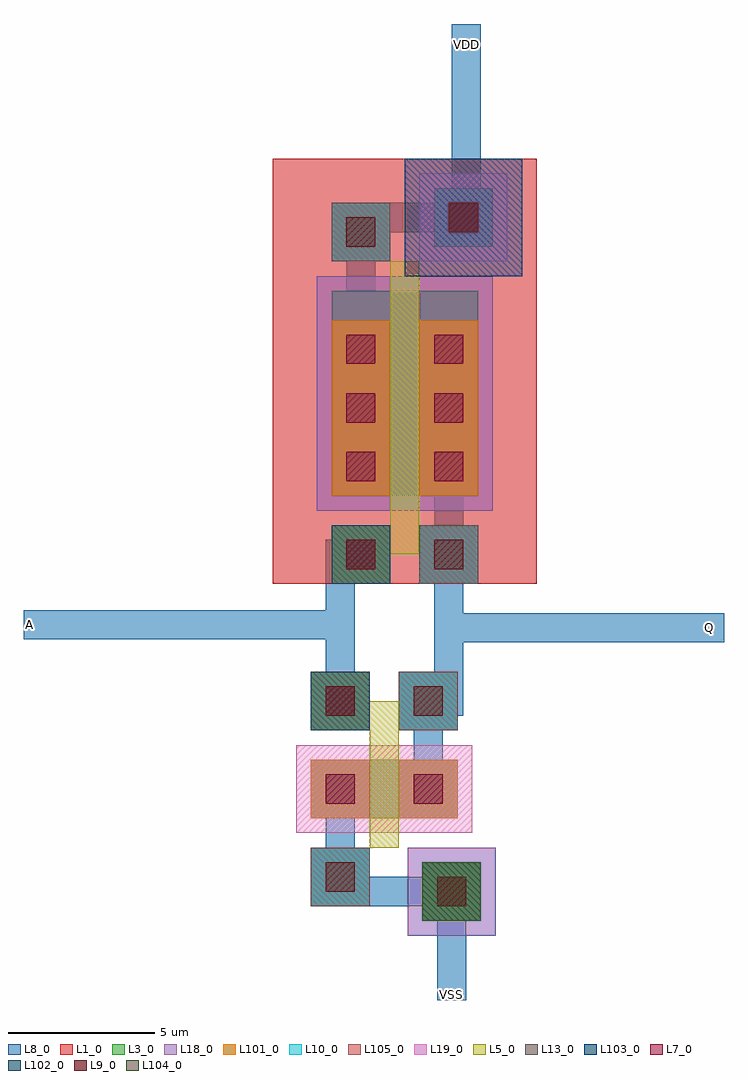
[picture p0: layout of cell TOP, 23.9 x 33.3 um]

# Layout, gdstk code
import gdstk
lib = gdstk.Library(unit=1e-6, precision=1e-07)
def R(c, l, rs):  # rectangles x0, y0, x1, y1
    for r in rs: c.add(gdstk.rectangle(r[:2], r[2:], *l))
L1_0 = (1, 0)
L3_0 = (3, 0)
L5_0 = (5, 0)
L7_0 = (7, 0)
L8_0 = (8, 0)
L9_0 = (9, 0)
L10_0 = (10, 0)
L13_0 = (13, 0)
L18_0 = (18, 0)
L19_0 = (19, 0)
L101_0 = (101, 0)
L102_0 = (102, 0)
L103_0 = (103, 0)
L104_0 = (104, 0)
L105_0 = (105, 0)

dcont = lib.new_cell('dcont')
R(dcont, L3_0, [(-1,-1,1,1)])
R(dcont, L7_0, [(-0.5,-0.5,0.5,0.5)])
R(dcont, L8_0, [(-1,-1,1,1)])
R(dcont, L13_0, [(-0.5,-0.5,0.5,0.5)])
R(dcont, L101_0, [(-1,-1,1,1)])

pcont = lib.new_cell('pcont')
R(pcont, L5_0, [(-1,-1,1,1)])
R(pcont, L7_0, [(-0.5,-0.5,0.5,0.5)])
R(pcont, L8_0, [(-1,-1,1,1)])
R(pcont, L13_0, [(-0.5,-0.5,0.5,0.5)])
R(pcont, L102_0, [(-1,-1,1,1)])

via = lib.new_cell('Via')
R(via, L8_0, [(-1,-1,1,1)])
R(via, L9_0, [(-0.5,-0.5,0.5,0.5)])
R(via, L10_0, [(-1,-1,1,1)])
R(via, L13_0, [(-0.5,-0.5,0.5,0.5)])
R(via, L105_0, [(-1,-1,1,1)])

dcont1 = lib.new_cell('dcont1')
R(dcont1, L3_0, [(-1,-1,1,1)])
R(dcont1, L7_0, [(-0.5,-0.5,0.5,0.5)])
R(dcont1, L8_0, [(-1,-1,1,1)])
R(dcont1, L13_0, [(-0.5,-0.5,0.5,0.5)])
R(dcont1, L101_0, [(-1,-1,1,1)])

psubcont = lib.new_cell('psubcont')
R(psubcont, L18_0, [(-1.5,-1.5,1.5,1.5)])
R(psubcont, L104_0, [(-1,-1,1,1)])
psubcont.add(gdstk.Reference(dcont1, (0,0)))

nch = lib.new_cell('Nch')
R(nch, L3_0, [(0,3,5,5)])
R(nch, L19_0, [(-0.5,2.5,5.5,5.5)])
nch.add(gdstk.FlexPath([(2.5,3),(2.5,5)], 1, ends=(1, 1), simple_path=True, layer=5, datatype=0))  # L5_0
nch.add(gdstk.FlexPath([(1,6.5),(2.5,6.5),(2.5,6)], 1, ends="flush", simple_path=True, layer=5, datatype=0))  # L5_0
nch.add(gdstk.FlexPath([(1,3),(1,5)], 2, ends="flush", simple_path=True, layer=8, datatype=0))  # L8_0
nch.add(gdstk.FlexPath([(4,3),(4,5)], 2, ends="flush", simple_path=True, layer=8, datatype=0))  # L8_0
nch.add(gdstk.FlexPath([(1,1),(1,4)], 1, ends="flush", simple_path=True, layer=8, datatype=0))  # L8_0
nch.add(gdstk.FlexPath([(4,4),(4,7)], 1, ends="flush", simple_path=True, layer=8, datatype=0))  # L8_0
nch.add(gdstk.Reference(dcont, (1,4)))
nch.add(gdstk.Reference(dcont, (4,4)))
nch.add(gdstk.Reference(pcont, (1,7)))
nch.add(gdstk.Reference(via, (1,7)))
nch.add(gdstk.Reference(via, (1,1)))
nch.add(gdstk.Reference(via, (4,7)))
nch.add(gdstk.Reference(psubcont, (4.8,0.5)))
nch.add(gdstk.Reference(via, (4.8,0.5)))

nsubcont = lib.new_cell('nsubcont')
R(nsubcont, L1_0, [(-2,-2,2,2)])
R(nsubcont, L19_0, [(-1.5,-1.5,1.5,1.5)])
R(nsubcont, L103_0, [(-2,-2,2,2)])
nsubcont.add(gdstk.Reference(dcont1, (0,0)))

pch = lib.new_cell('Pch')
R(pch, L1_0, [(-2,0,7,14.5)])
R(pch, L3_0, [(0,3,5,10)])
R(pch, L18_0, [(-0.5,2.5,5.5,10.5)])
pch.add(gdstk.FlexPath([(2.5,3),(2.5,10)], 1, ends=(1, 1), simple_path=True, layer=5, datatype=0))  # L5_0
pch.add(gdstk.FlexPath([(1,1.5),(2.5,1.5),(2.5,2)], 1, ends="flush", simple_path=True, layer=5, datatype=0))  # L5_0
pch.add(gdstk.FlexPath([(1,3),(1,10)], 2, ends="flush", simple_path=True, layer=8, datatype=0))  # L8_0
pch.add(gdstk.FlexPath([(4,3),(4,10)], 2, ends="flush", simple_path=True, layer=8, datatype=0))  # L8_0
pch.add(gdstk.FlexPath([(1,9),(1,12)], 1, ends="flush", simple_path=True, layer=8, datatype=0))  # L8_0
pch.add(gdstk.FlexPath([(4,1),(4,4)], 1, ends="flush", simple_path=True, layer=8, datatype=0))  # L8_0
pch.add(gdstk.Reference(dcont, (1,4)))
pch.add(gdstk.Reference(dcont, (1,6)))
pch.add(gdstk.Reference(dcont, (1,8)))
pch.add(gdstk.Reference(dcont, (4,4)))
pch.add(gdstk.Reference(dcont, (4,6)))
pch.add(gdstk.Reference(dcont, (4,8)))
pch.add(gdstk.Reference(pcont, (1,1)))
pch.add(gdstk.Reference(via, (1,1)))
pch.add(gdstk.Reference(via, (1,12)))
pch.add(gdstk.Reference(via, (4,1)))
pch.add(gdstk.Reference(nsubcont, (4.5,12.5)))
pch.add(gdstk.Reference(via, (4.5,12.5)))

top = lib.new_cell('TOP')
top.add(gdstk.FlexPath([(1.6,11.9),(0.9,11.9),(0.9,6.4),(0.9,6.4)], 1, ends="flush", simple_path=True, layer=8, datatype=0))  # L8_0
top.add(gdstk.FlexPath([(0.9,9.5),(-9.9,9.5),(-9.9,9.5),(-9.9,9.5)], 1, ends="flush", simple_path=True, layer=8, datatype=0))  # L8_0
top.add(gdstk.FlexPath([(4.6,11.9),(4.6,6.9),(3.4,6.9)], 1, ends="flush", simple_path=True, layer=8, datatype=0))  # L8_0
top.add(gdstk.FlexPath([(4.6,9.4),(13.5,9.4),(13.5,8.9)], 1, ends="flush", simple_path=True, layer=8, datatype=0))  # L8_0
top.add(gdstk.FlexPath([(0.9,0.9),(0.9,0.4),(5.2,0.4),(5.2,0.4)], 1, ends="flush", simple_path=True, layer=8, datatype=0))  # L8_0
top.add(gdstk.FlexPath([(4.7,0.4),(4.7,-3.3)], 1, ends="flush", simple_path=True, layer=8, datatype=0))  # L8_0
top.add(gdstk.FlexPath([(1.6,22.9),(1.6,23.4),(5.2,23.4),(5.2,30),(5.2,30)], 1, ends="flush", simple_path=True, layer=8, datatype=0))  # L8_0
top.add(gdstk.Reference(nch, (-0.1,-0.1)))
top.add(gdstk.Reference(pch, (0.6,10.9)))
top.add(gdstk.Label('VDD', (5.2,29.3), layer=8, texttype=0))
top.add(gdstk.Label('Q', (13.5,9.4), layer=8, texttype=0))
top.add(gdstk.Label('VSS', (4.7,-3.1), layer=8, texttype=0))
top.add(gdstk.Label('A', (-9.7,9.5), layer=8, texttype=0))

lib.write_gds('TOP.gds')
